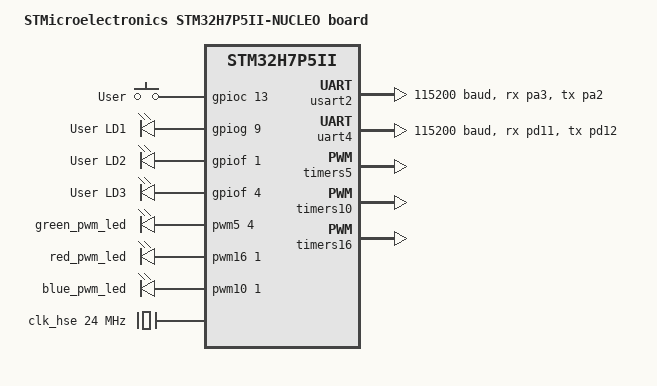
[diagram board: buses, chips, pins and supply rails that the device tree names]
/*
 * SPDX-FileCopyrightText: Copyright (c) 2026 STMicroelectronics
 * SPDX-License-Identifier: Apache-2.0
 */

/dts-v1/;
#include <st/h7p/stm32h7p5Xi.dtsi>
#include <st/h7p/stm32h7p(4-5)i(g-i)kx-pinctrl.dtsi>
#include "arduino_r3_connector.dtsi"
#include "st_morpho_connector.dtsi"

#include <zephyr/dt-bindings/input/input-event-codes.h>

/ {
	compatible = "st,stm32h7p5ii-nucleo";
	model = "STMicroelectronics STM32H7P5II-NUCLEO board";

	aliases {
		led0 = &green_led;
		led1 = &red_led;
		led2 = &blue_led;
		pwm-led0 = &green_pwm_led;
		pwm-led1 = &red_pwm_led;
		pwm-led2 = &blue_pwm_led;
		sw0 = &user_button;
	};

	chosen {
		zephyr,console = &usart2;
		zephyr,shell-uart = &usart2;
	};

	gpio-keys {
		compatible = "gpio-keys";

		user_button: button_0 {
			label = "User";
			gpios = <&gpioc 13 (GPIO_ACTIVE_HIGH | GPIO_PULL_DOWN)>;
			zephyr,code = <INPUT_KEY_0>;
		};
	};

	leds {
		compatible = "gpio-leds";

		green_led: led_0 {
			gpios = <&gpiog 9 GPIO_ACTIVE_HIGH>;
			label = "User LD1";
		};

		red_led: led_1 {
			gpios = <&gpiof 1 GPIO_ACTIVE_HIGH>;
			label = "User LD2";
		};

		blue_led: led_2 {
			gpios = <&gpiof 4 GPIO_ACTIVE_HIGH>;
			label = "User LD3";
		};
	};

	pwmleds {
		compatible = "pwm-leds";

		green_pwm_led: led_0_pwm {
			pwms = <&pwm5 4 PWM_MSEC(20) PWM_POLARITY_NORMAL>;
		};

		red_pwm_led: led_1_pwm {
			pwms = <&pwm16 1 PWM_MSEC(20) PWM_POLARITY_NORMAL>;
		};

		blue_pwm_led: led_2_pwm {
			pwms = <&pwm10 1 PWM_MSEC(20) PWM_POLARITY_NORMAL>;
		};
	};
};

&clk_lse {
	driving-capability = <0>;
	status = "okay";
};

&clk_hse {
	clock-frequency = <DT_FREQ_M(24)>;
	status = "okay";
};

&pll {
	/*
	 * f(hse_ck)    =  24 MHz
	 * f(vco1_ck)   = 520 MHz: (24 / 6) * 130
	 * f(pll1_p_ck) = 520 MHz: (520 / 1)
	 * f(pll1_q_ck) =  65 MHz: (520 / 8)
	 * pll1_s_ck is not used
	 */
	clocks = <&clk_hse>;
	div-m = <6>;
	mul-n = <130>;
	div-p = <1>;
	div-q = <8>;
	status = "okay";
};

&rcc {
	/*
	 * Select pll1_p_ck as system clock (sys_ck).
	 * BMPRE is set to 2 to satisfy Fbus <= Fbusmax = 260 MHz.
	 * PPRE1/PPRE4 are set to 2 to satisfy Fbus <= Fbusmax/2.
	 */
	clocks = <&pll>;
	clock-frequency = <DT_FREQ_M(520)>;
	cpre = <1>;
	bmpre = <2>;
	ppre1 = <2>;
	ppre2 = <1>;
	ppre4 = <2>;
};

&pwr {
	st,power-supply = "internal-regulator";
};

&flash0 {
	partitions {
		ranges;
		#address-cells = <1>;
		#size-cells = <1>;

		boot_partition: partition@0 {
			compatible = "zephyr,mapped-partition";
			reg = <0x00000000 DT_SIZE_K(128)>;
			label = "mcuboot";
		};

		storage_partition: partition@20000 {
			compatible = "zephyr,mapped-partition";
			reg = <0x00020000 DT_SIZE_K(128)>;
			label = "storage";
		};

		application_partition: partition@40000 {
			compatible = "zephyr,mapped-partition";
			reg = <0x00040000 (DT_SIZE_M(2) - DT_SIZE_K(256))>;
			label = "application";
		};
	};
};

/* ST-Link VCP UART */
&usart2 {
	pinctrl-0 = <&usart2_rx_pa3 &usart2_tx_pa2>;
	pinctrl-names = "default";
	current-speed = <115200>;
	status = "okay";
};

&uart4 {
	/* Arduino D0 (RX) / D1 (TX) */
	pinctrl-0 = <&uart4_rx_pd11 &uart4_tx_pd12>;
	pinctrl-names = "default";
	current-speed = <115200>;
	status = "okay";
};

/* User LEDs PWMs */
&timers5 {
	st,prescaler = <10000>;
	status = "okay";

	pwm5: pwm {
		pinctrl-0 = <&tim5_ch4_pg9>;
		pinctrl-names = "default";
		status = "okay";
	};
};

&timers10 {
	st,prescaler = <10000>;
	status = "okay";

	pwm10: pwm {
		pinctrl-0 = <&tim10_ch1_pf4>;
		pinctrl-names = "default";
		status = "okay";
	};
};

&timers16 {
	st,prescaler = <10000>;
	status = "okay";

	pwm16: pwm {
		pinctrl-0 = <&tim16_ch1_pf1>;
		pinctrl-names = "default";
		status = "okay";
	};
};
